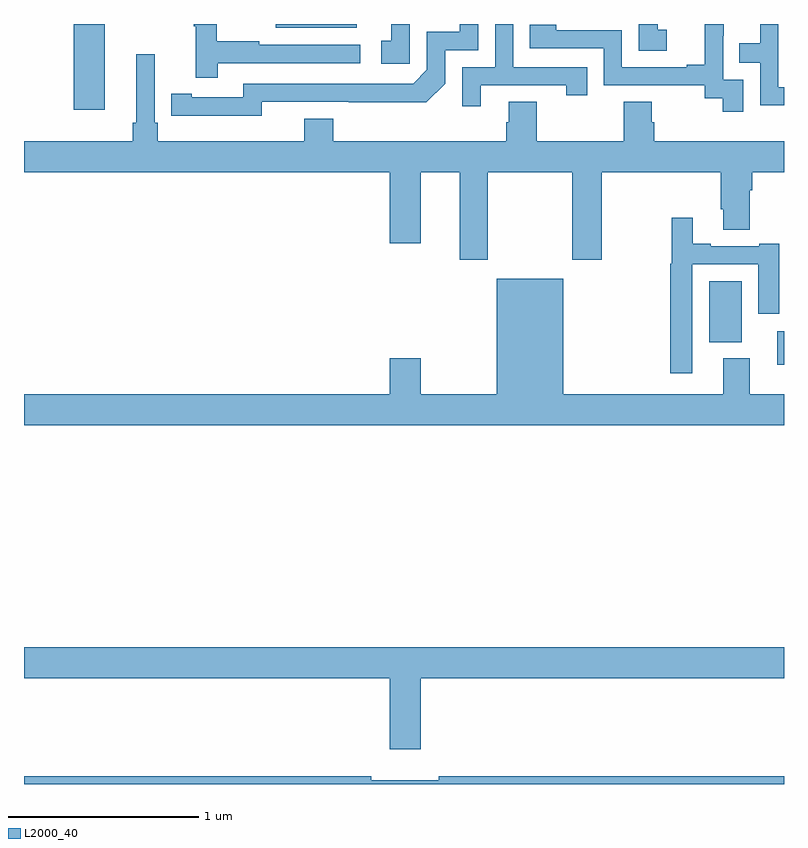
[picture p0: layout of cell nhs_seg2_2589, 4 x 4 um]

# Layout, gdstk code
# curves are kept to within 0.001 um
import gdstk
lib = gdstk.Library(unit=1e-6, precision=1e-09)
def R(c, l, rs):  # rectangles x0, y0, x1, y1
    for r in rs: c.add(gdstk.rectangle(r[:2], r[2:], *l))
def P(c, l, *ps):  # polygons
    for p in ps: c.add(gdstk.Polygon(p, *l))
L2000_40 = (2000, 40)

nhs_seg2_2589 = lib.new_cell('nhs_seg2_2589')
R(nhs_seg2_2589, L2000_40, [(250.964,596.006,251,596.182), (250.607,596.126,250.777,596.446), (247.262,597.348,247.426,597.8), (248.325,597.779,248.752,597.8)])
P(nhs_seg2_2589, L2000_40, [(248.021,597.594),(248.77,597.594),(248.77,597.69),(248.237,597.69),(248.237,597.71),(248.014,597.71),(248.014,597.8),(247.893,597.8),(247.893,597.787),(247.904,597.787),(247.904,597.516),(248.021,597.516)],
  [(251,597.468),(250.971,597.468),(250.971,597.8),(250.875,597.8),(250.875,597.698),(250.765,597.698),(250.765,597.597),(250.875,597.597),(250.875,597.372),(251,597.372)],
  [(249.03,597.8),(248.933,597.8),(248.933,597.711),(248.88,597.711),(248.88,597.591),(249.03,597.591)],
  [(250.785,597.507),(250.68,597.507),(250.68,597.737),(250.682,597.737),(250.682,597.8),(250.583,597.8),(250.583,597.586),(250.487,597.586),(250.487,597.573),(250.146,597.573),(250.146,597.768),(249.801,597.768),(249.801,597.795),(249.661,597.795),(249.661,597.672),(250.05,597.672),(250.05,597.477),(250.584,597.477),(250.584,597.409),(250.677,597.409),(250.677,597.339),(250.785,597.339)],
  [(248.25,597.39),(249.118,597.389),(249.216,597.486),(249.216,597.663),(249.39,597.663),(249.39,597.8),(249.293,597.8),(249.293,597.759),(249.12,597.759),(249.12,597.558),(249.048,597.486),(248.154,597.486),(248.154,597.414),(247.882,597.414),(247.882,597.434),(247.774,597.434),(247.774,597.318),(248.25,597.317)],
  [(250.384,597.769),(250.335,597.769),(250.335,597.8),(250.236,597.8),(250.236,597.66),(250.384,597.66)],
  [(249.403,597.477),(249.854,597.477),(249.854,597.426),(249.965,597.426),(249.965,597.573),(249.576,597.573),(249.576,597.8),(249.48,597.8),(249.48,597.573),(249.306,597.573),(249.306,597.366),(249.403,597.366)],
  [(249.441,597.02),(249.886,597.02),(249.886,596.559),(250.041,596.559),(250.041,597.02),(250.667,597.02),(250.667,596.824),(250.679,596.824),(250.679,596.716),(250.819,596.716),(250.819,596.924),(250.832,596.924),(250.832,597.02),(251,597.02),(251,597.184),(250.316,597.184),(250.316,597.282),(250.303,597.282),(250.303,597.392),(250.156,597.392),(250.156,597.184),(249.699,597.184),(249.699,597.392),(249.551,597.392),(249.551,597.282),(249.539,597.282),(249.539,597.184),(248.627,597.184),(248.627,597.301),(248.474,597.301),(248.474,597.184),(247.703,597.184),(247.703,597.28),(247.689,597.28),(247.689,597.64),(247.592,597.64),(247.592,597.28),(247.573,597.28),(247.573,597.184),(247,597.184),(247,597.02),(248.924,597.02),(248.924,596.646),(249.088,596.646),(249.088,597.02),(249.293,597.02),(249.293,596.559),(249.441,596.559)],
  [(250.518,596.535),(250.865,596.535),(250.865,596.274),(250.975,596.274),(250.975,596.644),(250.871,596.644),(250.871,596.631),(250.615,596.631),(250.615,596.644),(250.519,596.644),(250.519,596.779),(250.41,596.779),(250.41,596.538),(250.402,596.538),(250.402,595.962),(250.518,595.962)],
  [(251,595.852),(250.819,595.852),(250.819,596.041),(250.679,596.041),(250.679,595.852),(249.838,595.852),(249.838,596.458),(249.488,596.458),(249.488,595.852),(249.088,595.852),(249.088,596.041),(248.924,596.041),(248.924,595.852),(247,595.852),(247,595.688),(251,595.688)],
  [(249.088,594.356),(251,594.356),(251,594.52),(247,594.52),(247,594.356),(248.924,594.356),(248.924,593.982),(249.088,593.982)],
  [(251,593.84),(249.184,593.84),(249.184,593.821),(248.828,593.821),(248.828,593.84),(247,593.84),(247,593.8),(251,593.8)])

lib.write_gds('nhs_seg2_2589.gds')
